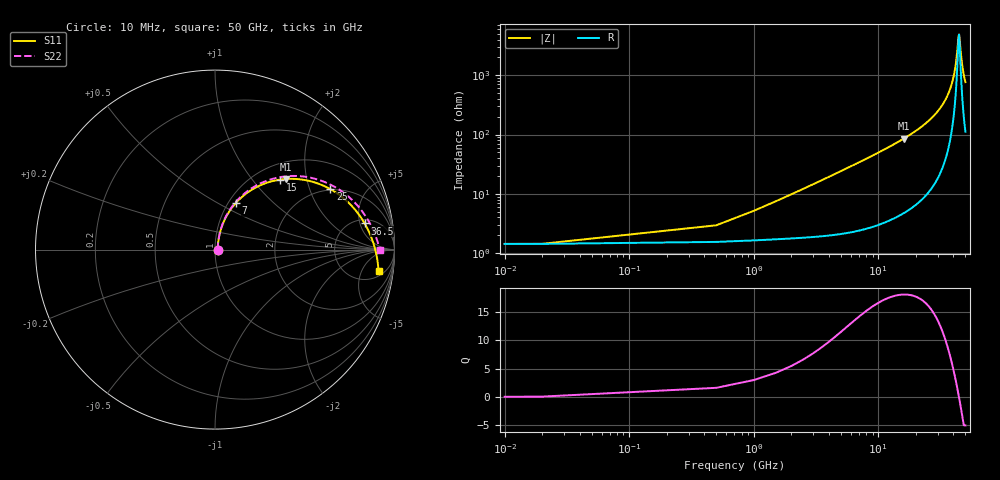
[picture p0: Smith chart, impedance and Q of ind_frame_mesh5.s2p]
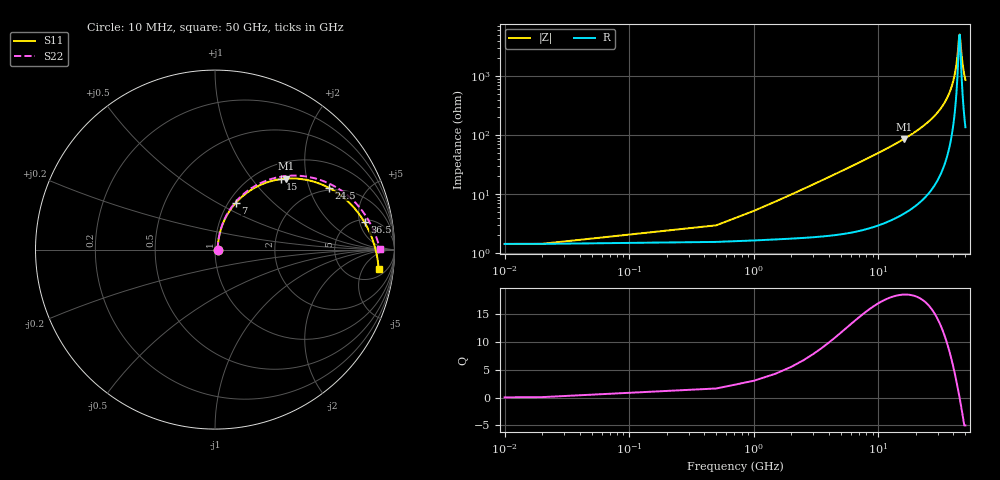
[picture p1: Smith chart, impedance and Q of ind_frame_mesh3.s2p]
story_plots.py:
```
#!/usr/bin/env python
"""Plots and numbers for README.md (ind_frame spiral inductor mesh study).

Reads the Touchstone files in results/snp/ and writes to results/plots/:

  story_uniform_LQ.png        - L and Q vs. frequency, uniform order-2 mesh 5 -> 1 um
  story_accuracy_vs_cost.png  - L and peak-Q error vs. solve time, order 1, order 2, AMR

It also prints the numbers quoted in README.md.

Inductor figures of merit, ports 1/2 taken as one differential pair:
  Zdiff = Z11 - Z12 - Z21 + Z22,  L = Im(Zdiff)/w,  Q = Im(Zdiff)/Re(Zdiff),  R = Re(Zdiff)
Reference for all errors: 1 um uniform mesh, order 2.
"""
import os
import numpy as np
import skrf as rf
import matplotlib
matplotlib.use("Agg")
import matplotlib.pyplot as plt

HERE = os.path.dirname(os.path.abspath(__file__))
SNP_DIR = os.path.join(HERE, "snp")
PLOT_DIR = os.path.join(HERE, "plots")

L_FREQ = 10e9  # frequency for the inductance comparison

# uniform order-2 sweep, coarse -> fine; ordinal blue ramp, light -> dark
UNIFORM = [
    ("5 µm", "ind_frame_mesh5.s2p", "#86b6ef"),
    ("3 µm", "ind_frame_mesh3.s2p", "#3987e5"),
    ("2 µm", "ind_frame_mesh2.s2p", "#1c5cab"),
    ("1 µm", "ind_frame_mesh1.s2p", "#0d366b"),
]
ORDER1 = [
    ("3 µm", "ind_frame_mesh3_order1.s2p"),
    ("2 µm", "ind_frame_mesh2_order1.s2p"),
    ("1 µm", "ind_frame_mesh1_order1.s2p"),
]
AMR = ("AMR final", "ind_frame_amr2_final.s2p")
REFERENCE = "ind_frame_mesh1.s2p"

# solve times in minutes, from the Palace logs of each run
SOLVE_MIN = {
    "ind_frame_mesh5.s2p": 7.7 / 60,
    "ind_frame_mesh3.s2p": 14.2 / 60,
    "ind_frame_mesh2.s2p": 25.2 / 60,
    "ind_frame_mesh1.s2p": 52.2 / 60,
    "ind_frame_mesh3_order1.s2p": 2.8 / 60,
    "ind_frame_mesh2_order1.s2p": 5.2 / 60,
    "ind_frame_mesh1_order1.s2p": 9.2 / 60,
    # AMR: cumulative over all iterations
    "ind_frame_amr2_final.s2p": 4 + 29 / 60,
}

INK = "#0b0b0b"
INK2 = "#52514e"
GRID = "#e4e3de"
BLUE = "#2a78d6"
ORANGE = "#eb6834"
AQUA = "#1baf7a"


def minutes_label(m):
    """solve time for a plot label: 1.5 min, 27 min"""
    return f"{m:.1f} min" if m < 10 else f"{m:.0f} min"


def load(fname):
    return rf.Network(os.path.join(SNP_DIR, fname))


def lqr(ntw):
    z = ntw.z
    zd = z[:, 0, 0] - z[:, 0, 1] - z[:, 1, 0] + z[:, 1, 1]
    w = 2 * np.pi * ntw.f
    return {"L": zd.imag / w * 1e9, "Q": zd.imag / zd.real, "R": zd.real}


def at(ntw, values, f_hz):
    return np.interp(f_hz, ntw.f, values)


def errors(fname, ref):
    """(L error at L_FREQ in %, peak-Q error in %) vs. the reference network."""
    ntw = load(fname)
    m, r = lqr(ntw), lqr(ref)
    dl = (at(ntw, m["L"], L_FREQ) / at(ref, r["L"], L_FREQ) - 1) * 100
    dq = (m["Q"].max() / r["Q"].max() - 1) * 100
    return dl, dq


def style(ax):
    ax.grid(True, color=GRID, linewidth=0.8)
    ax.set_axisbelow(True)
    for side in ("top", "right"):
        ax.spines[side].set_visible(False)
    for side in ("left", "bottom"):
        ax.spines[side].set_color(INK2)
    ax.tick_params(colors=INK2, labelsize=9)


def plot_uniform_lq():
    fig, axes = plt.subplots(1, 2, figsize=(10, 3.9), sharex=True)
    for label, fname, color in UNIFORM:
        ntw = load(fname)
        m = lqr(ntw)
        for ax, key in zip(axes, ("L", "Q")):
            ax.plot(ntw.f / 1e9, m[key], color=color, linewidth=2, label=label)
    for ax, title in zip(axes, ("Differential inductance L (nH)", "Differential Q factor")):
        style(ax)
        ax.set_title(title, loc="left", fontsize=11, color=INK)
        ax.set_xlabel("Frequency (GHz)", color=INK2)
    axes[0].set_ylim(0.6, 2.2)
    handles, labels = axes[0].get_legend_handles_labels()
    fig.legend(handles, labels, loc="upper center", ncol=4, frameon=False, fontsize=9,
               title="refined_cellsize (uniform, order 2)", title_fontsize=9)
    fig.tight_layout(rect=(0, 0, 1, 0.86))
    out = os.path.join(PLOT_DIR, "story_uniform_LQ.png")
    fig.savefig(out, dpi=130, facecolor="white")
    plt.close(fig)
    print("wrote", out)


def plot_accuracy_vs_cost():
    ref = load(REFERENCE)
    fig, axes = plt.subplots(1, 2, figsize=(10, 4.2), sharex=True)
    series = [
        ("order 2, uniform", [(l, f) for l, f, _ in UNIFORM[:-1]], BLUE, "o"),
        ("order 1, uniform", ORDER1, ORANGE, "s"),
    ]
    for name, runs, color, marker in series:
        xs = [SOLVE_MIN[f] for _, f in runs]
        errs = [errors(f, ref) for _, f in runs]
        for ax, idx in zip(axes, (0, 1)):
            ys = [abs(e[idx]) for e in errs]
            ax.plot(xs, ys, color=color, linewidth=2, marker=marker, markersize=8, label=name, zorder=3)
            for (label, _), x, y in zip(runs, xs, ys):
                ax.annotate(label, (x, y), textcoords="offset points", xytext=(6, 5), fontsize=8, color=INK)
    dl, dq = errors(AMR[1], ref)
    for ax, y in zip(axes, (abs(dl), abs(dq))):
        ax.plot([SOLVE_MIN[AMR[1]]], [y], color=AQUA, marker="D", markersize=9, linestyle="none",
                label="AMR, 2 iterations", zorder=3)
    for ax, title in zip(axes, (f"|L error| at {L_FREQ / 1e9:.0f} GHz (%)", "|Peak Q error| (%)")):
        style(ax)
        ax.set_title(title, loc="left", fontsize=11, color=INK)
        ax.set_xscale("log")
        ax.set_xticks([0.05, 0.1, 0.2, 0.5, 1, 2, 5])
        ax.set_xticklabels(["0.05", "0.1", "0.2", "0.5", "1", "2", "5"])
        ax.set_xlim(0.035, 8)
        ax.set_ylim(bottom=0)
        ax.set_xlabel("Solve time (min, log scale)", color=INK2)
        ax.axvline(SOLVE_MIN[REFERENCE], color=INK2, linewidth=1, linestyle=":")
    axes[1].text(SOLVE_MIN[REFERENCE], axes[1].get_ylim()[1], f" 1 µm reference\n run ({minutes_label(SOLVE_MIN[REFERENCE])})",
                 fontsize=8, color=INK2, va="top")
    handles, labels = axes[0].get_legend_handles_labels()
    fig.legend(handles, labels, loc="upper center", ncol=3, frameon=False, fontsize=9,
               title="error vs. 1 µm uniform mesh, order 2", title_fontsize=9)
    fig.tight_layout(rect=(0, 0, 1, 0.86))
    out = os.path.join(PLOT_DIR, "story_accuracy_vs_cost.png")
    fig.savefig(out, dpi=130, facecolor="white")
    plt.close(fig)
    print("wrote", out)


def print_numbers():
    ref = load(REFERENCE)
    rows = [(l + ", order 2", f) for l, f, _ in UNIFORM] + [(l + ", order 1", f) for l, f in ORDER1] + [AMR]
    print()
    print(f"{'variant':16s} {'L@1GHz':>7s} {'L@10GHz':>8s} {'dL%':>6s} {'Qpeak':>6s} {'@GHz':>5s} {'dQ%':>6s} "
          f"{'R@1GHz':>7s} {'R@10GHz':>8s} {'MaxdS':>7s} {'min':>5s}")
    for label, fname in rows:
        ntw = load(fname)
        m = lqr(ntw)
        dl, dq = errors(fname, ref)
        print(f"{label:16s} {at(ntw, m['L'], 1e9):7.4f} {at(ntw, m['L'], L_FREQ):8.4f} {dl:+6.2f} "
              f"{m['Q'].max():6.2f} {ntw.f[m['Q'].argmax()] / 1e9:5.1f} {dq:+6.2f} "
              f"{at(ntw, m['R'], 1e9):7.3f} {at(ntw, m['R'], L_FREQ):8.3f} "
              f"{np.abs(ntw.s - ref.s).max():7.4f} {SOLVE_MIN[fname]:5.1f}")


if __name__ == "__main__":
    os.makedirs(PLOT_DIR, exist_ok=True)
    plot_uniform_lq()
    plot_accuracy_vs_cost()
    print_numbers()
```
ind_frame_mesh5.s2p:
! Created with skrf 2.2.0 (http://scikit-rf.org).
# GHz S DB R 50.0
! Port[1] = P1
! Port[2] = P2
!freq dBS11 angS11 dBS21 angS21 dBS12 angS12 dBS22 angS22
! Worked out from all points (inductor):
!   102 points, 10 MHz to 50 GHz, reference 50 ohm
!   read as 1/Y11, port 2 shorted: L = 768 pH near 1.5 GHz
!   highest Q = 18 at 16 GHz (marker M1), where L = 850 pH
!   self-resonance near 44 GHz
!   S11 on the Smith chart (normalised r, x): 10 MHz: 1.03, +0.00; 7 GHz: 1.08, +0.61; 15 GHz: 1.28, +1.40; 25 GHz: 1.97, +2.80; 36.5 GHz: 5.81, +5.97; 50 GHz: 7, -11
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0.01  -36.99 2.0  -0.12 -0.0  -0.12 -0.0  -36.99 2.0
1  -26.73 67.0  -0.15 -3.1  -0.15 -3.1  -26.73 67.1
2  -21.24 73.2  -0.19 -6.0  -0.19 -6.0  -21.24 73.4
4  -15.46 72.4  -0.31 -11.7  -0.31 -11.7  -15.47 72.8
7  -10.90 65.9  -0.59 -19.9  -0.59 -19.9  -10.91 66.7
15  -5.46 47.0  -1.78 -39.4  -1.78 -39.4  -5.47 48.9
16  -5.07 44.8  -1.96 -41.5  -1.96 -41.5  -5.08 46.8
25  -2.78 27.6  -3.72 -58.5  -3.72 -58.5  -2.79 30.8
25.5  -2.70 26.7  -3.83 -59.4  -3.83 -59.4  -2.71 30.0
36.5  -1.45 9.9  -6.16 -75.7  -6.16 -75.7  -1.46 14.9
50  -0.73 -7.6  -9.24 -92.1  -9.24 -92.1  -0.74 -0.3
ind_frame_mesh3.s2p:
! Created with skrf 2.2.0 (http://scikit-rf.org).
# GHz S DB R 50.0
! Port[1] = P1
! Port[2] = P2
!freq dBS11 angS11 dBS21 angS21 dBS12 angS12 dBS22 angS22
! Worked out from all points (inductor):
!   102 points, 10 MHz to 50 GHz, reference 50 ohm
!   read as 1/Y11, port 2 shorted: L = 777 pH near 1 GHz
!   highest Q = 18.5 at 16 GHz (marker M1), where L = 853 pH
!   self-resonance near 44.5 GHz
!   S11 on the Smith chart (normalised r, x): 10 MHz: 1.03, +0.00; 7 GHz: 1.08, +0.62; 15 GHz: 1.28, +1.41; 24.5 GHz: 1.89, +2.72; 36.5 GHz: 5.55, +5.96; 50 GHz: 8, -11
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0.01  -36.98 2.0  -0.12 -0.0  -0.12 -0.0  -36.98 2.0
1  -26.68 67.1  -0.15 -3.1  -0.15 -3.1  -26.68 67.2
2  -21.18 73.3  -0.19 -6.0  -0.19 -6.0  -21.18 73.5
4  -15.39 72.4  -0.31 -11.7  -0.31 -11.7  -15.40 72.9
7  -10.84 65.9  -0.59 -20.0  -0.59 -20.0  -10.85 66.7
15  -5.41 47.0  -1.79 -39.4  -1.79 -39.4  -5.42 48.9
16  -5.02 44.9  -1.97 -41.6  -1.97 -41.6  -5.03 46.8
24.5  -2.85 28.6  -3.64 -57.6  -3.64 -57.6  -2.86 31.7
25.5  -2.68 26.9  -3.84 -59.3  -3.84 -59.3  -2.69 30.1
36.5  -1.44 10.3  -6.14 -75.4  -6.14 -75.4  -1.45 15.2
50  -0.74 -6.8  -9.13 -91.5  -9.13 -91.5  -0.75 0.3
